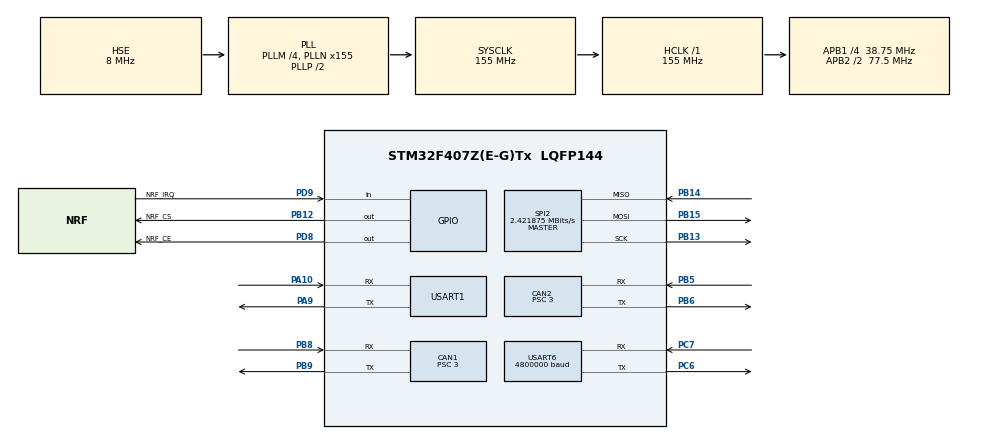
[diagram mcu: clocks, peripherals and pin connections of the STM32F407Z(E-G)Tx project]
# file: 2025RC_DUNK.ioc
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CAN1.BS1=CAN_BS1_9TQ
CAN1.BS2=CAN_BS2_3TQ
CAN1.CalculateBaudRate=993589
CAN1.CalculateTimeBit=1006
CAN1.CalculateTimeQuantum=77.41935483870967
CAN1.Prescaler=3
CAN2.BS1=CAN_BS1_9TQ
CAN2.BS2=CAN_BS2_3TQ
CAN2.CalculateBaudRate=993589
CAN2.CalculateTimeBit=1006
CAN2.CalculateTimeQuantum=77.41935483870967
CAN2.Prescaler=3
Dma.Request0=USART6_RX
Dma.Request1=USART6_TX
Dma.Request2=USART1_RX
Dma.Request3=USART1_TX
Dma.USART1_RX.2.Direction=DMA_PERIPH_TO_MEMORY
Dma.USART1_RX.2.FIFOMode=DMA_FIFOMODE_DISABLE
Dma.USART1_RX.2.Instance=DMA2_Stream2
Dma.USART1_RX.2.MemDataAlignment=DMA_MDATAALIGN_BYTE
Dma.USART1_RX.2.MemInc=DMA_MINC_ENABLE
Dma.USART1_RX.2.Mode=DMA_NORMAL
Dma.USART1_RX.2.PeriphDataAlignment=DMA_PDATAALIGN_BYTE
Dma.USART1_RX.2.PeriphInc=DMA_PINC_DISABLE
Dma.USART1_RX.2.Priority=DMA_PRIORITY_LOW
Dma.USART1_TX.3.Direction=DMA_MEMORY_TO_PERIPH
Dma.USART1_TX.3.FIFOMode=DMA_FIFOMODE_DISABLE
Dma.USART1_TX.3.Instance=DMA2_Stream7
Dma.USART1_TX.3.MemDataAlignment=DMA_MDATAALIGN_BYTE
Dma.USART1_TX.3.MemInc=DMA_MINC_ENABLE
Dma.USART1_TX.3.Mode=DMA_NORMAL
Dma.USART1_TX.3.PeriphDataAlignment=DMA_PDATAALIGN_BYTE
Dma.USART1_TX.3.PeriphInc=DMA_PINC_DISABLE
Dma.USART1_TX.3.Priority=DMA_PRIORITY_LOW
Dma.USART6_RX.0.Direction=DMA_PERIPH_TO_MEMORY
Dma.USART6_RX.0.FIFOMode=DMA_FIFOMODE_DISABLE
Dma.USART6_RX.0.Instance=DMA2_Stream1
Dma.USART6_RX.0.MemDataAlignment=DMA_MDATAALIGN_BYTE
Dma.USART6_RX.0.MemInc=DMA_MINC_ENABLE
Dma.USART6_RX.0.Mode=DMA_NORMAL
Dma.USART6_RX.0.PeriphDataAlignment=DMA_PDATAALIGN_BYTE
Dma.USART6_RX.0.PeriphInc=DMA_PINC_DISABLE
Dma.USART6_RX.0.Priority=DMA_PRIORITY_LOW
Dma.USART6_TX.1.Direction=DMA_MEMORY_TO_PERIPH
Dma.USART6_TX.1.FIFOMode=DMA_FIFOMODE_DISABLE
Dma.USART6_TX.1.Instance=DMA2_Stream6
Dma.USART6_TX.1.MemDataAlignment=DMA_MDATAALIGN_BYTE
Dma.USART6_TX.1.MemInc=DMA_MINC_ENABLE
Dma.USART6_TX.1.Mode=DMA_NORMAL
Dma.USART6_TX.1.PeriphDataAlignment=DMA_PDATAALIGN_BYTE
Dma.USART6_TX.1.PeriphInc=DMA_PINC_DISABLE
Dma.USART6_TX.1.Priority=DMA_PRIORITY_LOW
FREERTOS.Tasks01=LWIP_TASK,24,256,Lwip_Task,Default,NULL,Dynamic,NULL,NULL;SYSTEM,8,128,System_Monitor,Default,NULL,Dynamic,NULL,NULL;LOCATION,25,256,Location_Task,Default,NULL,Dynamic,NULL,NULL;NAVIGATION,26,512,Navigation_Task,Default,NULL,Dynamic,NULL,NULL;MOTOR_CONTROL,27,256,Motor_Control,Default,NULL,Dynamic,NULL,NULL;REMOTE_CONTROL,24,256,Remote_Control,Default,NULL,Dynamic,NULL,NULL;FUN_TASK,28,1024,Fun_Task,Default,NULL,Dynamic,NULL,NULL;COMMUNICATION,29,256,Communication_Task,Default,NULL,Dynamic,NULL,NULL
FREERTOS.configTOTAL_HEAP_SIZE=32768
Mcu.Family=STM32F4
Mcu.Name=STM32F407Z(E-G)Tx
Mcu.Package=LQFP144
NVIC.CAN1_RX0_IRQn=true\:5\:0\:false\:false\:true\:true\:true\:true\:true
NVIC.CAN2_RX0_IRQn=true\:5\:0\:false\:false\:true\:true\:true\:true\:true
NVIC.DMA2_Stream1_IRQn=true\:5\:0\:false\:false\:true\:true\:false\:true\:true
NVIC.DMA2_Stream2_IRQn=true\:5\:0\:false\:false\:true\:true\:false\:true\:true
NVIC.DMA2_Stream6_IRQn=true\:5\:0\:false\:false\:true\:true\:false\:true\:true
NVIC.DMA2_Stream7_IRQn=true\:5\:0\:false\:false\:true\:true\:false\:true\:true
NVIC.PriorityGroup=NVIC_PRIORITYGROUP_4
NVIC.SPI2_IRQn=true\:5\:0\:false\:false\:true\:true\:true\:true\:true
NVIC.TIM4_IRQn=true\:5\:0\:false\:false\:true\:true\:true\:true\:true
NVIC.TIM5_IRQn=true\:15\:0\:false\:false\:true\:false\:false\:true\:true
NVIC.TimeBase=TIM5_IRQn
NVIC.TimeBaseIP=TIM5
NVIC.USART1_IRQn=true\:5\:0\:false\:false\:true\:true\:true\:true\:true
NVIC.USART6_IRQn=true\:5\:0\:false\:false\:true\:true\:true\:true\:true
PA10.GPIO_PuPd=GPIO_PULLUP
PA10.Mode=Asynchronous
PA10.Signal=USART1_RX
PA13.Mode=Serial_Wire
PA13.Signal=SYS_JTMS-SWDIO
PA14.Mode=Serial_Wire
PA14.Signal=SYS_JTCK-SWCLK
PA9.GPIO_PuPd=GPIO_PULLUP
PA9.Mode=Asynchronous
PA9.Signal=USART1_TX
PB12.GPIO_Label=NRF_CS
PB12.GPIO_Speed=GPIO_SPEED_FREQ_VERY_HIGH
PB12.PinState=GPIO_PIN_SET
PB12.Signal=GPIO_Output
PB13.Mode=Full_Duplex_Master
PB13.Signal=SPI2_SCK
PB14.Mode=Full_Duplex_Master
PB14.Signal=SPI2_MISO
PB15.Mode=Full_Duplex_Master
PB15.Signal=SPI2_MOSI
PB5.GPIO_PuPd=GPIO_PULLUP
PB5.Mode=CAN_Activate
PB5.Signal=CAN2_RX
PB6.GPIO_PuPd=GPIO_PULLUP
PB6.Mode=CAN_Activate
PB6.Signal=CAN2_TX
PB8.GPIO_PuPd=GPIO_PULLUP
PB8.Mode=CAN_Activate
PB8.Signal=CAN1_RX
PB9.GPIO_PuPd=GPIO_PULLUP
PB9.Mode=CAN_Activate
PB9.Signal=CAN1_TX
PC6.GPIO_PuPd=GPIO_PULLUP
PC6.Mode=Asynchronous
PC6.Signal=USART6_TX
PC7.GPIO_PuPd=GPIO_PULLUP
PC7.Mode=Asynchronous
PC7.Signal=USART6_RX
PD8.GPIO_Label=NRF_CE
PD8.GPIO_Speed=GPIO_SPEED_FREQ_VERY_HIGH
PD8.Signal=GPIO_Output
PD9.GPIO_Label=NRF_IRQ
PD9.GPIO_PuPd=GPIO_PULLUP
PD9.Signal=GPIO_Input
PH0-OSC_IN.Mode=HSE-External-Oscillator
PH0-OSC_IN.Signal=RCC_OSC_IN
PH1-OSC_OUT.Mode=HSE-External-Oscillator
PH1-OSC_OUT.Signal=RCC_OSC_OUT
ProjectManager.HeapSize=0x200
ProjectManager.StackSize=0x400
ProjectManager.TargetToolchain=MDK-ARM V5.32
RCC.48MHZClocksFreq_Value=77500000
RCC.AHBFreq_Value=155000000
RCC.APB1CLKDivider=RCC_HCLK_DIV4
RCC.APB1Freq_Value=38750000
RCC.APB1TimFreq_Value=77500000
RCC.APB2CLKDivider=RCC_HCLK_DIV2
RCC.APB2Freq_Value=77500000
RCC.APB2TimFreq_Value=155000000
RCC.CortexFreq_Value=155000000
RCC.HCLKFreq_Value=155000000
RCC.HSE_VALUE=8000000
RCC.HSI_VALUE=16000000
RCC.LSE_VALUE=32768
RCC.PLLM=4
RCC.PLLN=155
RCC.PLLSourceVirtual=RCC_PLLSOURCE_HSE
RCC.SYSCLKFreq_VALUE=155000000
RCC.SYSCLKSource=RCC_SYSCLKSOURCE_PLLCLK
RCC.VCOOutputFreq_Value=310000000
SPI2.BaudRatePrescaler=SPI_BAUDRATEPRESCALER_16
SPI2.CalculateBaudRate=2.421875 MBits/s
SPI2.Direction=SPI_DIRECTION_2LINES
SPI2.Mode=SPI_MODE_MASTER
SPI2.VirtualType=VM_MASTER
TIM4.AutoReloadPreload=TIM_AUTORELOAD_PRELOAD_ENABLE
TIM4.Period=49
TIM4.Prescaler=1549
USART1.VirtualMode=VM_ASYNC
USART6.BaudRate=4800000
USART6.OverSampling=UART_OVERSAMPLING_8
USART6.VirtualMode=VM_ASYNC
VP_FREERTOS_VS_CMSIS_V2.Mode=CMSIS_V2
VP_SYS_VS_tim5.Mode=TIM5
VP_TIM4_VS_ClockSourceINT.Mode=Internal
board=custom

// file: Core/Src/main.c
/* USER CODE BEGIN Header */
/**
  ******************************************************************************
  * @file           : main.c
  * @brief          : Main program body
  ******************************************************************************
  * @attention
  *
  * Copyright (c) 2025 STMicroelectronics.
  * All rights reserved.
  *
  * This software is licensed under terms that can be found in the LICENSE file
  * in the root directory of this software component.
  * If no LICENSE file comes with this software, it is provided AS-IS.
  *
  ******************************************************************************
  */
/* USER CODE END Header */
#include "main.h"
#include "cmsis_os.h"
#include "can.h"
#include "dma.h"
#include "spi.h"
#include "tim.h"
#include "usart.h"
#include "gpio.h"

/* USER CODE BEGIN Includes */
#include "bsp_can.h"
#include "air_operated.h"
#include "ROBOT.h"
/* USER CODE END Includes */

void SystemClock_Config(void);
void MX_FREERTOS_Init(void);

int main(void)
{

  /* MCU Configuration--------------------------------------------------------*/

  /* Reset of all peripherals, Initializes the Flash interface and the Systick. */
  HAL_Init();

  /* Configure the system clock */
  SystemClock_Config();

  /* Initialize all configured peripherals */
  MX_GPIO_Init();
  MX_DMA_Init();
  MX_CAN1_Init();
  MX_CAN2_Init();
  MX_SPI2_Init();
  MX_TIM4_Init();
  MX_USART6_UART_Init();
  MX_USART1_UART_Init();
  /* USER CODE BEGIN 2 */
	can1_start();
	can2_start();
//	__HAL_UART_ENABLE_IT(&huart1,UART_IT_IDLE);
	__HAL_UART_ENABLE_IT(&huart6,UART_IT_IDLE);
	HAL_UART_Receive_DMA(&huart6,uart6_test,200);
	HAL_TIM_Base_Start_IT(&htim4);
  /* USER CODE END 2 */

  /* Init scheduler */
  osKernelInitialize();

  /* Call init function for freertos objects (in cmsis_os2.c) */
  MX_FREERTOS_Init();

  /* Start scheduler */
  osKernelStart();

  /* We should never get here as control is now taken by the scheduler */

  /* Infinite loop */
  while (1)
  {

  }
}

void SystemClock_Config(void)
{
  RCC_OscInitTypeDef RCC_OscInitStruct = {0};
  RCC_ClkInitTypeDef RCC_ClkInitStruct = {0};

  /** Configure the main internal regulator output voltage
  */
  __HAL_RCC_PWR_CLK_ENABLE();
  __HAL_PWR_VOLTAGESCALING_CONFIG(PWR_REGULATOR_VOLTAGE_SCALE1);

  /** Initializes the RCC Oscillators according to the specified parameters
  * in the RCC_OscInitTypeDef structure.
  */
  RCC_OscInitStruct.OscillatorType = RCC_OSCILLATORTYPE_HSE;
  RCC_OscInitStruct.HSEState = RCC_HSE_ON;
  RCC_OscInitStruct.PLL.PLLState = RCC_PLL_ON;
  RCC_OscInitStruct.PLL.PLLSource = RCC_PLLSOURCE_HSE;
  RCC_OscInitStruct.PLL.PLLM = 4;
  RCC_OscInitStruct.PLL.PLLN = 155;
  RCC_OscInitStruct.PLL.PLLP = RCC_PLLP_DIV2;
  RCC_OscInitStruct.PLL.PLLQ = 4;
  if (HAL_RCC_OscConfig(&RCC_OscInitStruct) != HAL_OK)
  {
    Error_Handler();
  }

  /** Initializes the CPU, AHB and APB buses clocks
  */
  RCC_ClkInitStruct.ClockType = RCC_CLOCKTYPE_HCLK|RCC_CLOCKTYPE_SYSCLK
                              |RCC_CLOCKTYPE_PCLK1|RCC_CLOCKTYPE_PCLK2;
  RCC_ClkInitStruct.SYSCLKSource = RCC_SYSCLKSOURCE_PLLCLK;
  RCC_ClkInitStruct.AHBCLKDivider = RCC_SYSCLK_DIV1;
  RCC_ClkInitStruct.APB1CLKDivider = RCC_HCLK_DIV4;
  RCC_ClkInitStruct.APB2CLKDivider = RCC_HCLK_DIV2;

  if (HAL_RCC_ClockConfig(&RCC_ClkInitStruct, FLASH_LATENCY_5) != HAL_OK)
  {
    Error_Handler();
  }
}

void HAL_TIM_PeriodElapsedCallback(TIM_HandleTypeDef *htim)
{
  if (htim->Instance == TIM5) {
    HAL_IncTick();
  }
}

void Error_Handler(void)
{
  __disable_irq();
  while (1)
  {
  }
}

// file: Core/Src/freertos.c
/* USER CODE BEGIN Header */
/**
  ******************************************************************************
  * File Name          : freertos.c
  * Description        : Code for freertos applications
  ******************************************************************************
  * @attention
  *
  * Copyright (c) 2025 STMicroelectronics.
  * All rights reserved.
  *
  * This software is licensed under terms that can be found in the LICENSE file
  * in the root directory of this software component.
  * If no LICENSE file comes with this software, it is provided AS-IS.
  *
  ******************************************************************************
  */
/* USER CODE END Header */

#include "FreeRTOS.h"
#include "task.h"
#include "main.h"
#include "cmsis_os.h"

/* USER CODE BEGIN Includes */
#include "bsp_can.h"
#include "pid.h"
#include "ROBOT.h"
#include "navigation_task.h"
#include "chassis.h"
#include "NRF24L01.h"
#include "remote_control.h"
#include "air_operated.h"
#include "math_algorithm.h"
#include "smc.h"
#include "algorithm.h"
#include "motor_control.h"
#include "dunk.h"
#include "unitree_motor.h"
/* USER CODE END Includes */

/* Definitions for LWIP_TASK */
osThreadId_t LWIP_TASKHandle;
const osThreadAttr_t LWIP_TASK_attributes = {
  .name = "LWIP_TASK",
  .stack_size = 256 * 4,
  .priority = (osPriority_t) osPriorityNormal,
};
/* Definitions for SYSTEM */
osThreadId_t SYSTEMHandle;
const osThreadAttr_t SYSTEM_attributes = {
  .name = "SYSTEM",
  .stack_size = 128 * 4,
  .priority = (osPriority_t) osPriorityLow,
};
/* Definitions for LOCATION */
osThreadId_t LOCATIONHandle;
const osThreadAttr_t LOCATION_attributes = {
  .name = "LOCATION",
  .stack_size = 256 * 4,
  .priority = (osPriority_t) osPriorityNormal1,
};
/* Definitions for NAVIGATION */
osThreadId_t NAVIGATIONHandle;
const osThreadAttr_t NAVIGATION_attributes = {
  .name = "NAVIGATION",
  .stack_size = 512 * 4,
  .priority = (osPriority_t) osPriorityNormal2,
};
/* Definitions for MOTOR_CONTROL */
osThreadId_t MOTOR_CONTROLHandle;
const osThreadAttr_t MOTOR_CONTROL_attributes = {
  .name = "MOTOR_CONTROL",
  .stack_size = 256 * 4,
  .priority = (osPriority_t) osPriorityNormal3,
};
/* Definitions for REMOTE_CONTROL */
osThreadId_t REMOTE_CONTROLHandle;
const osThreadAttr_t REMOTE_CONTROL_attributes = {
  .name = "REMOTE_CONTROL",
  .stack_size = 256 * 4,
  .priority = (osPriority_t) osPriorityNormal,
};
/* Definitions for FUN_TASK */
osThreadId_t FUN_TASKHandle;
const osThreadAttr_t FUN_TASK_attributes = {
  .name = "FUN_TASK",
  .stack_size = 1024 * 4,
  .priority = (osPriority_t) osPriorityNormal4,
};
/* Definitions for COMMUNICATION */
osThreadId_t COMMUNICATIONHandle;
const osThreadAttr_t COMMUNICATION_attributes = {
  .name = "COMMUNICATION",
  .stack_size = 256 * 4,
  .priority = (osPriority_t) osPriorityNormal5,
};

void Lwip_Task(void *argument);
void System_Monitor(void *argument);
void Location_Task(void *argument);
void Navigation_Task(void *argument);
void Motor_Control(void *argument);
void Remote_Control(void *argument);
void Fun_Task(void *argument);
void Communication_Task(void *argument);

void MX_FREERTOS_Init(void); /* (MISRA C 2004 rule 8.1) */

void MX_FREERTOS_Init(void) {

  /* Create the thread(s) */
  /* creation of LWIP_TASK */
  LWIP_TASKHandle = osThreadNew(Lwip_Task, NULL, &LWIP_TASK_attributes);

  /* creation of SYSTEM */
  SYSTEMHandle = osThreadNew(System_Monitor, NULL, &SYSTEM_attributes);

  /* creation of LOCATION */
  LOCATIONHandle = osThreadNew(Location_Task, NULL, &LOCATION_attributes);

  /* creation of NAVIGATION */
  NAVIGATIONHandle = osThreadNew(Navigation_Task, NULL, &NAVIGATION_attributes);

  /* creation of MOTOR_CONTROL */
  MOTOR_CONTROLHandle = osThreadNew(Motor_Control, NULL, &MOTOR_CONTROL_attributes);

  /* creation of REMOTE_CONTROL */
  REMOTE_CONTROLHandle = osThreadNew(Remote_Control, NULL, &REMOTE_CONTROL_attributes);

  /* creation of FUN_TASK */
  FUN_TASKHandle = osThreadNew(Fun_Task, NULL, &FUN_TASK_attributes);

  /* creation of COMMUNICATION */
  COMMUNICATIONHandle = osThreadNew(Communication_Task, NULL, &COMMUNICATION_attributes);

}

void Lwip_Task(void *argument)
{
  for(;;)
  {
    osDelay(1);
  }
}

void System_Monitor(void *argument)
{
  /* USER CODE BEGIN System_Monitor */
  /* Infinite loop */
  for(;;)
  {
    for(int i=0;i<2;i++)
		{
			system_monitor.can_rec_fps[i]=system_monitor.can_rec_cnt[i];
			system_monitor.can_rec_cnt[i]=0;
		}
		system_monitor.can_send_fps=system_monitor.can_send_cnt;
		system_monitor.can_send_cnt=0;

		system_monitor.motor_left_4219_fps=system_monitor.motor_left_4219_cnt;
		system_monitor.motor_left_4219_cnt=0;

		system_monitor.motor_right_4219_fps=system_monitor.motor_right_4219_cnt;
		system_monitor.motor_right_4219_cnt=0;

		system_monitor.motor_left_xc5000_fps=system_monitor.motor_left_xc5000_cnt;
		system_monitor.motor_left_xc5000_cnt=0;

		system_monitor.motor_right_xc5000_fps=system_monitor.motor_right_xc5000_cnt;
		system_monitor.motor_right_xc5000_cnt=0;

		system_monitor.motor_A1_fps=system_monitor.motor_A1_cnt;
		system_monitor.motor_A1_cnt=0;

		system_monitor.uart6_fps=system_monitor.uart6_cnt;
		system_monitor.uart6_cnt=0;
    vTaskDelay(pdMS_TO_TICKS(1000));
  }
  /* USER CODE END System_Monitor */
}

void Location_Task(void *argument)
{
  for(;;)
  {
    osDelay(1);
  }
}

void Navigation_Task(void *argument)
{
  for(;;)
  {
    osDelay(1);
  }
}

void Motor_Control(void *argument)
{
  /* USER CODE BEGIN Motor_Control */
  /* Infinite loop */
  for(;;)
  {
		if(nav.nav_state!=NAV_OFF)
		{
			PID_Calc_NEW(&chassis_run.rightdown);
			PID_Calc_NEW(&chassis_run.rightup);
			PID_Calc_NEW(&chassis_run.leftdown);
			PID_Calc_NEW(&chassis_run.leftup);

			chassis_run.leftup.fpU += friction_compensation_current.leftup + feed_forward_current.leftup;
			chassis_run.rightup.fpU += friction_compensation_current.rightup + feed_forward_current.rightup;
			chassis_run.rightdown.fpU += friction_compensation_current.rightdown + feed_forward_current.rightdown;
			chassis_run.leftdown.fpU += friction_compensation_current.leftdown + feed_forward_current.leftdown;
//			LESO_Order1(&leso_leftup,chassis_run.leftup.fpFB,chassis_run.leftup.fpU);
//			LESO_Order1(&leso_rightup,chassis_run.rightup.fpFB,chassis_run.rightup.fpU);
//			LESO_Order1(&leso_rightdown,chassis_run.rightdown.fpFB,chassis_run.rightdown.fpU);
//			LESO_Order1(&leso_leftdown,chassis_run.leftdown.fpFB,chassis_run.leftdown.fpU);
//
//			compensation_leftup = leso_leftup.U - leso_leftup.U0;
//			compensation_rightup = leso_rightup.U - leso_rightup.U0;
//			compensation_rightdown = leso_rightdown.U - leso_rightdown.U0;
//			compensation_leftdown = leso_leftdown.U - leso_leftdown.U0;
//
//			chassis_run.leftup.fpU += compensation_leftup + feed_forward_current.leftup;
//			chassis_run.rightup.fpU += compensation_rightup + feed_forward_current.rightup;
//			chassis_run.rightdown.fpU += compensation_rightdown + feed_forward_current.rightdown;;
//			chassis_run.leftdown.fpU += compensation_leftdown + feed_forward_current.leftdown;
		}
//		CAN_SendCurrent(&hcan1,0x200,chassis_run.leftup.fpU,chassis_run.rightup.fpU,chassis_run.rightdown.fpU,chassis_run.leftdown.fpU);
		jump_motor_pos_ctrl();
		jump_motor_control(&left_xc5000_motor);
		jump_motor_control(&right_xc5000_motor);
		jump_motor_control(&left_4219_motor);
		jump_motor_control(&right_4219_motor);
		CAN_SendCurrent(&hcan2,0x200,left_xc5000_motor.Motor_Data.motor_current,right_xc5000_motor.Motor_Data.motor_current
																,left_4219_motor.Motor_Data.motor_current,right_4219_motor.Motor_Data.motor_current);

		arm_motor_control();
		switch(Suction_State)
		{
			case ALL_CLOSE:
				CLOSE_VALVE(1);
				CLOSE_VALVE(2);
				break;
			case CATCH_BALL:
				OPEN_VALVE(1);
				CLOSE_VALVE(2);
				break;
			case LOOSE_BALL:
				CLOSE_VALVE(1);
				OPEN_VALVE(2);
				break;
			default:
				break;
		}
		SendAirMsgByCan1(&g_uiAirValve);
    vTaskDelay(pdMS_TO_TICKS(1));
  }
  /* USER CODE END Motor_Control */
}

void Remote_Control(void *argument)
{
  for(;;)
  {
    osDelay(1);
  }
}

/* USER CODE BEGIN Header_Fun_Task */
/**
* @brief Function implementing the FUN_TASK thread.
* @param argument: Not used
* @retval None
*/
u8 flag;
/* USER CODE END Header_Fun_Task */
void Fun_Task(void *argument)
{
  /* USER CODE BEGIN Fun_Task */
  /* Infinite loop */
  for(;;)
  {
		if(dunk_flag == 1)
		{
			Dunk();
			if(Dunk_State == DUNK_END)
			{
				dunk_flag = 0;
				Dunk_State = DUNK_INIT;
			}
		}
		if(pos_mode_flag == 1)
		{
			if(jump_motor_pos_mode())
				pos_mode_flag = 0;
		}
		if(damp_mode_flag == 1)
		{
			jump_motor_damp_mode();
			damp_mode_flag = 0;
		}
    osDelay(1);
  }
  /* USER CODE END Fun_Task */
}

void Communication_Task(void *argument)
{
  /* USER CODE BEGIN Communication_Task */
  /* Infinite loop */
  for(;;)
  {
		motor_A1_cmd(&Motor_A1);
    vTaskDelay(pdMS_TO_TICKS(1));
  }
  /* USER CODE END Communication_Task */
}
